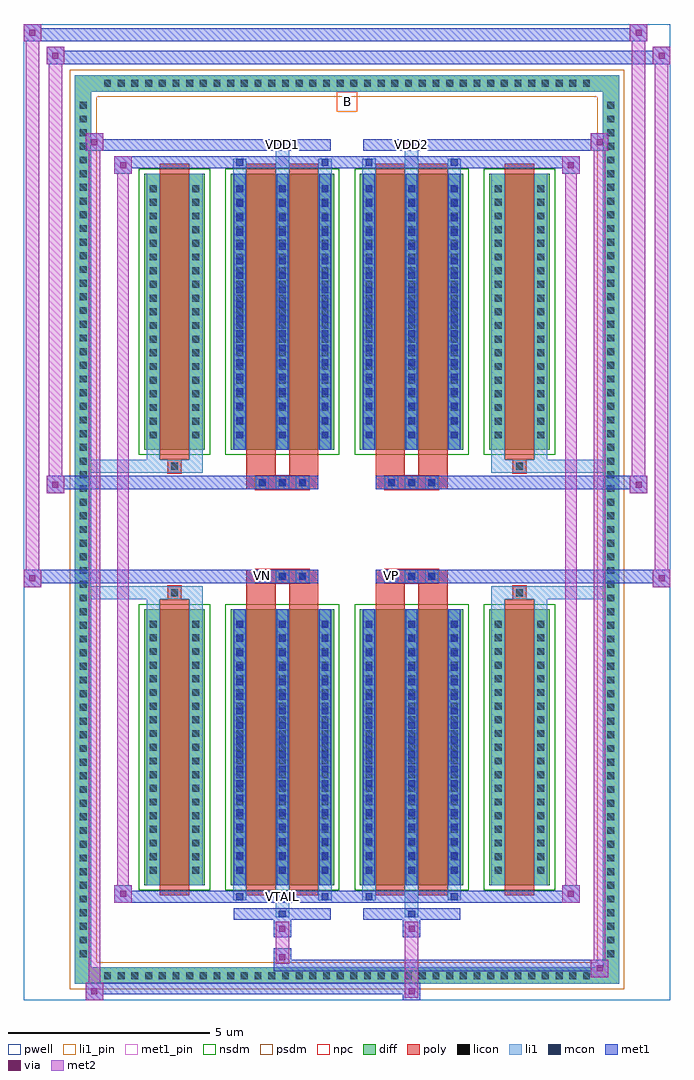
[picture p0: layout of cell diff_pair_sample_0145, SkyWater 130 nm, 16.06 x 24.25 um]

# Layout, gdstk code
import gdstk
lib = gdstk.Library(unit=1e-6, precision=5e-09)
def R(c, l, rs):  # rectangles x0, y0, x1, y1
    for r in rs: c.add(gdstk.rectangle(r[:2], r[2:], *l))
def A(c, l, x, y, w, h, nx, ny, dx, dy):  # array of equal rectangles
    R(c, l, [(x+i*dx, y+j*dy, x+i*dx+w, y+j*dy+h) for i in range(nx) for j in range(ny)])
def P(c, l, *ps):  # polygons
    for p in ps: c.add(gdstk.Polygon(p, *l))
pwell = (64, 44)
diff = (65, 20)
poly = (66, 20)
licon = (66, 44)
li1_pin = (67, 16)
li1 = (67, 20)
mcon = (67, 44)
met1_pin = (68, 16)
met1 = (68, 20)
via = (68, 44)
met2 = (69, 20)
nsdm = (93, 44)
psdm = (94, 20)
npc = (95, 20)

diff_pair_sample_0145 = lib.new_cell('diff_pair_sample_0145')
R(diff_pair_sample_0145, pwell, [(-8.03,-11.69,8.03,12.56), (-5.35,-9.88,-0.01,-0.8), (0.01,-9.88,5.35,-0.8), (-5.35,0.8,-0.01,9.88), (0.01,0.8,5.35,9.88)])
A(diff_pair_sample_0145, diff, -6.155, -11.29, 0.41, 0.41, 36, 2, 0.34, 22.17)
A(diff_pair_sample_0145, diff, -6.76, -10.745, 0.41, 0.41, 1, 63, 0, 0.34)
A(diff_pair_sample_0145, diff, 6.35, -10.745, 0.41, 0.41, 1, 63, 0, 0.34)
R(diff_pair_sample_0145, diff, [(-6.155,-11.29,6.155,-10.88), (-6.76,-10.745,-6.35,10.745), (6.35,-10.745,6.76,10.745), (-5.04,-8.835,-3.53,-1.985), (-2.89,-8.835,-0.32,-1.985), (0.32,-8.835,2.89,-1.985), (3.53,-8.835,5.04,-1.985), (-5.04,1.985,-3.53,8.835), (-2.89,1.985,-0.32,8.835), (0.32,1.985,2.89,8.835), (3.53,1.985,5.04,8.835), (-6.155,10.88,6.155,11.29)])
P(diff_pair_sample_0145, diff, [(6.76,11.29),(-6.76,11.29),(-6.76,-10.88),(-6.35,-10.88),(-6.35,10.88),(6.35,10.88),(6.35,-10.88),(-6.35,-10.88),(-6.76,-10.88),(-6.76,-11.29),(6.76,-11.29)])
A(diff_pair_sample_0145, poly, -2.27, -1.33, 0.33, 0.33, 3, 2, 0.5, 2.33)
A(diff_pair_sample_0145, poly, 0.94, -1.33, 0.33, 0.33, 3, 2, 0.5, 2.33)
R(diff_pair_sample_0145, poly, [(-4.65,-9.085,-3.92,-1.735), (-2.5,-9.085,-1.77,-1.735), (-1.44,-9.085,-0.71,-1.735), (0.71,-9.085,1.44,-1.735), (1.77,-9.085,2.5,-1.735), (3.92,-9.085,4.65,-1.735), (-4.45,-1.735,-4.12,-1.405), (-4.45,-1.735,-4.12,-1.405), (-2.5,-1.735,-1.77,-1.33), (-1.44,-1.735,-0.71,-1.33), (0.71,-1.735,1.44,-1.33), (1.77,-1.735,2.5,-1.33), (4.12,-1.735,4.45,-1.405), (4.12,-1.735,4.45,-1.405), (-2.5,-1.33,-0.71,-1), (0.71,-1.33,2.5,-1), (-2.5,1,-0.71,1.33), (0.71,1,2.5,1.33), (-2.5,1.33,-1.77,1.735), (-1.44,1.33,-0.71,1.735), (0.71,1.33,1.44,1.735), (1.77,1.33,2.5,1.735), (-4.45,1.405,-4.12,1.735), (-4.45,1.405,-4.12,1.735), (4.12,1.405,4.45,1.735), (4.12,1.405,4.45,1.735), (-4.65,1.735,-3.92,9.085), (-2.5,1.735,-1.77,9.085), (-1.44,1.735,-0.71,9.085), (0.71,1.735,1.44,9.085), (1.77,1.735,2.5,9.085), (3.92,1.735,4.65,9.085)])
A(diff_pair_sample_0145, licon, -6.035, -11.17, 0.17, 0.17, 36, 2, 0.34, 22.17)
A(diff_pair_sample_0145, licon, -6.64, -10.625, 0.17, 0.17, 1, 63, 0, 0.34)
A(diff_pair_sample_0145, licon, 6.47, -10.625, 0.17, 0.17, 1, 63, 0, 0.34)
A(diff_pair_sample_0145, licon, -4.9, -8.555, 0.17, 0.17, 1, 19, 0, 0.34)
A(diff_pair_sample_0145, licon, -3.84, -8.555, 0.17, 0.17, 1, 19, 0, 0.34)
A(diff_pair_sample_0145, licon, -2.75, -8.555, 0.17, 0.17, 3, 19, 1.06, 0.34)
A(diff_pair_sample_0145, licon, 0.46, -8.555, 0.17, 0.17, 3, 19, 1.06, 0.34)
A(diff_pair_sample_0145, licon, 3.67, -8.555, 0.17, 0.17, 1, 19, 0, 0.34)
A(diff_pair_sample_0145, licon, 4.73, -8.555, 0.17, 0.17, 1, 19, 0, 0.34)
A(diff_pair_sample_0145, licon, -2.19, -1.25, 0.17, 0.17, 3, 2, 0.5, 2.33)
A(diff_pair_sample_0145, licon, 1.02, -1.25, 0.17, 0.17, 3, 2, 0.5, 2.33)
A(diff_pair_sample_0145, licon, -4.9, 2.265, 0.17, 0.17, 1, 19, 0, 0.34)
A(diff_pair_sample_0145, licon, -3.84, 2.265, 0.17, 0.17, 1, 19, 0, 0.34)
A(diff_pair_sample_0145, licon, -2.75, 2.265, 0.17, 0.17, 3, 19, 1.06, 0.34)
A(diff_pair_sample_0145, licon, 0.46, 2.265, 0.17, 0.17, 3, 19, 1.06, 0.34)
A(diff_pair_sample_0145, licon, 3.67, 2.265, 0.17, 0.17, 1, 19, 0, 0.34)
A(diff_pair_sample_0145, licon, 4.73, 2.265, 0.17, 0.17, 1, 19, 0, 0.34)
R(diff_pair_sample_0145, licon, [(-4.37,-1.655,-4.2,-1.485), (4.2,-1.655,4.37,-1.485), (-4.37,1.485,-4.2,1.655), (4.2,1.485,4.37,1.655)])
R(diff_pair_sample_0145, li1_pin, [(-0.25,10.38,0.25,10.88)])
A(diff_pair_sample_0145, li1, -6.115, -11.25, 0.33, 0.33, 36, 2, 0.34, 22.17)
A(diff_pair_sample_0145, li1, -6.72, -10.705, 0.33, 0.33, 1, 63, 0, 0.34)
A(diff_pair_sample_0145, li1, 6.39, -10.705, 0.33, 0.33, 1, 63, 0, 0.34)
A(diff_pair_sample_0145, li1, -2.83, -8.835, 0.33, 6.85, 3, 2, 1.06, 10.82)
A(diff_pair_sample_0145, li1, 0.38, -8.835, 0.33, 6.85, 3, 2, 1.06, 10.82)
A(diff_pair_sample_0145, li1, -4.98, -8.635, 0.33, 0.33, 1, 19, 0, 0.34)
A(diff_pair_sample_0145, li1, -3.92, -8.635, 0.33, 0.33, 1, 19, 0, 0.34)
A(diff_pair_sample_0145, li1, -2.83, -8.635, 0.33, 0.33, 3, 19, 1.06, 0.34)
A(diff_pair_sample_0145, li1, 0.38, -8.635, 0.33, 0.33, 3, 19, 1.06, 0.34)
A(diff_pair_sample_0145, li1, 3.59, -8.635, 0.33, 0.33, 1, 19, 0, 0.34)
A(diff_pair_sample_0145, li1, 4.65, -8.635, 0.33, 0.33, 1, 19, 0, 0.34)
A(diff_pair_sample_0145, li1, -2.75, -8.555, 0.17, 0.17, 3, 18, 1.06, 0.36)
A(diff_pair_sample_0145, li1, -2.75, -8.555, 0.17, 6.29, 3, 2, 1.06, 10.82)
A(diff_pair_sample_0145, li1, 0.46, -8.555, 0.17, 0.17, 3, 18, 1.06, 0.36)
A(diff_pair_sample_0145, li1, 0.46, -8.555, 0.17, 6.29, 3, 2, 1.06, 10.82)
A(diff_pair_sample_0145, li1, -2.27, -1.33, 0.33, 0.33, 3, 2, 0.5, 2.33)
A(diff_pair_sample_0145, li1, 0.94, -1.33, 0.33, 0.33, 3, 2, 0.5, 2.33)
A(diff_pair_sample_0145, li1, -4.98, 2.185, 0.33, 0.33, 1, 19, 0, 0.34)
A(diff_pair_sample_0145, li1, -3.92, 2.185, 0.33, 0.33, 1, 19, 0, 0.34)
A(diff_pair_sample_0145, li1, -2.83, 2.185, 0.33, 0.33, 3, 19, 1.06, 0.34)
A(diff_pair_sample_0145, li1, 0.38, 2.185, 0.33, 0.33, 3, 19, 1.06, 0.34)
A(diff_pair_sample_0145, li1, 3.59, 2.185, 0.33, 0.33, 1, 19, 0, 0.34)
A(diff_pair_sample_0145, li1, 4.65, 2.185, 0.33, 0.33, 1, 19, 0, 0.34)
A(diff_pair_sample_0145, li1, -2.75, 2.265, 0.17, 0.17, 3, 18, 1.06, 0.36)
A(diff_pair_sample_0145, li1, 0.46, 2.265, 0.17, 0.17, 3, 18, 1.06, 0.36)
R(diff_pair_sample_0145, li1, [(-6.76,-11.29,-6.35,-10.88), (-6.76,-11.29,-6.35,-10.88), (-6.35,-11.29,6.35,-10.88), (6.35,-11.29,6.76,-10.88), (6.35,-11.29,6.76,-10.88), (-6.76,-10.88,-6.35,10.88), (6.35,-10.88,6.76,10.88), (-1.77,-9.64,-1.44,-8.835), (-1.69,-9.64,-1.52,-9.47), (1.44,-9.64,1.77,-8.835), (1.52,-9.64,1.69,-9.47), (-2.83,-9.21,-2.5,-8.835), (-2.75,-9.21,-2.58,-9.04), (-0.71,-9.21,-0.38,-8.835), (-0.63,-9.21,-0.46,-9.04), (0.38,-9.21,0.71,-8.835), (0.46,-9.21,0.63,-9.04), (2.5,-9.21,2.83,-8.835), (2.58,-9.21,2.75,-9.04), (-4.98,-8.835,-4.65,-1.985), (-3.92,-8.835,-3.59,-1.985), (3.59,-8.835,3.92,-1.985), (4.65,-8.835,4.98,-1.985), (-4.98,-1.985,-4.65,-1.405), (-3.92,-1.985,-3.59,-1.405), (3.59,-1.985,3.92,-1.405), (4.65,-1.985,4.98,-1.405), (-6.76,-1.735,-4.45,-1.405), (-4.98,-1.735,-4.45,-1.405), (-4.45,-1.735,-4.12,-1.405), (-4.12,-1.735,-3.59,-1.405), (3.59,-1.735,4.12,-1.405), (4.12,-1.735,4.45,-1.405), (4.12,-1.735,6.76,-1.405), (4.45,-1.735,4.98,-1.405), (-6.76,1.405,-4.45,1.735), (-4.98,1.405,-4.45,1.735), (-4.98,1.405,-4.65,1.985), (-4.45,1.405,-4.12,1.735), (-4.12,1.405,-3.59,1.735), (-3.92,1.405,-3.59,1.985), (3.59,1.405,4.12,1.735), (3.59,1.405,3.92,1.985), (4.12,1.405,4.45,1.735), (4.12,1.405,6.76,1.735), (4.45,1.405,4.98,1.735), (4.65,1.405,4.98,1.985), (-4.98,1.985,-4.65,8.835), (-3.92,1.985,-3.59,8.835), (3.59,1.985,3.92,8.835), (4.65,1.985,4.98,8.835), (-2.83,8.835,-2.5,9.21), (-1.77,8.835,-1.44,9.64), (-0.71,8.835,-0.38,9.21), (0.38,8.835,0.71,9.21), (1.44,8.835,1.77,9.64), (2.5,8.835,2.83,9.21), (-2.75,9.04,-2.58,9.21), (-0.63,9.04,-0.46,9.21), (0.46,9.04,0.63,9.21), (2.58,9.04,2.75,9.21), (-1.69,9.47,-1.52,9.64), (1.52,9.47,1.69,9.64), (-6.76,10.88,-6.35,11.29), (-6.76,10.88,-6.35,11.29), (-6.35,10.88,6.35,11.29), (6.35,10.88,6.76,11.29), (6.35,10.88,6.76,11.29)])
A(diff_pair_sample_0145, mcon, -2.75, -8.555, 0.17, 0.17, 3, 18, 1.06, 0.36)
A(diff_pair_sample_0145, mcon, 0.46, -8.555, 0.17, 0.17, 3, 18, 1.06, 0.36)
A(diff_pair_sample_0145, mcon, -2.19, -1.25, 0.17, 0.17, 3, 2, 0.5, 2.33)
A(diff_pair_sample_0145, mcon, 1.02, -1.25, 0.17, 0.17, 3, 2, 0.5, 2.33)
A(diff_pair_sample_0145, mcon, -2.75, 2.265, 0.17, 0.17, 3, 18, 1.06, 0.36)
A(diff_pair_sample_0145, mcon, 0.46, 2.265, 0.17, 0.17, 3, 18, 1.06, 0.36)
R(diff_pair_sample_0145, mcon, [(-1.69,-9.64,-1.52,-9.47), (1.52,-9.64,1.69,-9.47), (-2.75,-9.21,-2.58,-9.04), (-0.63,-9.21,-0.46,-9.04), (0.46,-9.21,0.63,-9.04), (2.58,-9.21,2.75,-9.04), (-2.75,9.04,-2.58,9.21), (-0.63,9.04,-0.46,9.21), (0.46,9.04,0.63,9.21), (2.58,9.04,2.75,9.21), (-1.69,9.47,-1.52,9.64), (1.52,9.47,1.69,9.64)])
R(diff_pair_sample_0145, met1_pin, [(-1.74,-9.25,-1.47,-8.98), (-2.24,-1.29,-1.97,-1.02), (0.97,-1.29,1.24,-1.02), (-1.74,9.43,-1.47,9.7), (1.47,9.43,1.74,9.7)])
A(diff_pair_sample_0145, met1, -2.81, -8.835, 0.29, 6.85, 3, 2, 1.06, 10.82)
A(diff_pair_sample_0145, met1, 0.4, -8.835, 0.29, 6.85, 3, 2, 1.06, 10.82)
A(diff_pair_sample_0145, met1, -2.81, -8.615, 0.29, 0.29, 3, 18, 1.06, 0.36)
A(diff_pair_sample_0145, met1, 0.4, -8.615, 0.29, 0.29, 3, 18, 1.06, 0.36)
A(diff_pair_sample_0145, met1, -2.25, -1.31, 0.29, 0.29, 3, 2, 0.5, 2.33)
A(diff_pair_sample_0145, met1, 0.96, -1.31, 0.29, 0.29, 3, 2, 0.5, 2.33)
A(diff_pair_sample_0145, met1, -2.81, 2.205, 0.29, 0.29, 3, 18, 1.06, 0.36)
A(diff_pair_sample_0145, met1, 0.4, 2.205, 0.29, 0.29, 3, 18, 1.06, 0.36)
R(diff_pair_sample_0145, met1, [(-6.49,-11.69,-6.06,-11.26), (1.39,-11.69,1.82,-11.26), (-6.49,-11.55,1.82,-11.26), (6.06,-11.12,6.49,-10.69), (-1.82,-10.98,6.49,-10.69), (-1.82,-10.84,-1.39,-10.41), (-1.82,-10.13,-1.39,-9.7), (1.39,-10.13,1.82,-9.7), (-2.81,-9.7,-0.4,-9.41), (-1.75,-9.7,-1.46,-9.41), (0.4,-9.7,2.81,-9.41), (1.46,-9.7,1.75,-9.41), (-5.78,-9.27,-5.35,-8.84), (-5.78,-9.27,-2.81,-8.98), (-2.81,-9.27,-2.52,-8.98), (-2.81,-9.27,-0.4,-8.98), (-0.69,-9.27,-0.4,-8.98), (-0.4,-9.27,0.4,-8.98), (0.4,-9.27,0.69,-8.98), (0.4,-9.27,2.81,-8.98), (2.52,-9.27,2.81,-8.98), (2.81,-9.27,5.78,-8.98), (5.35,-9.27,5.78,-8.84), (-8.03,-1.43,-7.6,-1), (7.6,-1.43,8.03,-1), (-8.03,-1.33,-0.71,-1), (-2.5,-1.33,-0.71,-1), (0.71,-1.33,2.5,-1), (0.71,-1.33,8.03,-1), (-7.46,0.9,-7.03,1.33), (7.03,0.9,7.46,1.33), (-7.46,1,-2.5,1.33), (-2.5,1,-0.71,1.33), (0.71,1,2.5,1.33), (2.5,1,7.46,1.33), (-5.78,8.84,-5.35,9.27), (5.35,8.84,5.78,9.27), (-5.78,8.98,-2.81,9.27), (-2.81,8.98,-2.52,9.27), (-2.81,8.98,-0.4,9.27), (-0.69,8.98,-0.4,9.27), (-0.4,8.98,0.4,9.27), (0.4,8.98,0.69,9.27), (0.4,8.98,2.81,9.27), (2.52,8.98,2.81,9.27), (2.81,8.98,5.78,9.27), (-6.49,9.41,-6.06,9.84), (-6.49,9.41,-2.81,9.7), (-2.81,9.41,-0.4,9.7), (-1.75,9.41,-1.46,9.7), (0.4,9.41,2.81,9.7), (1.46,9.41,1.75,9.7), (2.81,9.41,6.49,9.7), (6.06,9.41,6.49,9.84), (-7.46,11.56,-7.03,11.99), (-7.46,11.56,-5.35,11.89), (-5.35,11.56,5.35,11.89), (5.35,11.56,8.03,11.89), (7.6,11.56,8.03,11.99), (-8.03,12.13,-7.6,12.56), (-8.03,12.13,-5.35,12.46), (-5.35,12.13,5.35,12.46), (5.35,12.13,7.46,12.46), (7.03,12.13,7.46,12.56)])
R(diff_pair_sample_0145, via, [(-6.35,-11.55,-6.2,-11.4), (1.53,-11.55,1.68,-11.4), (6.2,-10.98,6.35,-10.83), (-1.68,-10.7,-1.53,-10.55), (-1.68,-9.99,-1.53,-9.84), (1.53,-9.99,1.68,-9.84), (-5.64,-9.13,-5.49,-8.98), (5.49,-9.13,5.64,-8.98), (-7.89,-1.29,-7.74,-1.14), (7.74,-1.29,7.89,-1.14), (-7.32,1.04,-7.17,1.19), (7.17,1.04,7.32,1.19), (-5.64,8.98,-5.49,9.13), (5.49,8.98,5.64,9.13), (-6.35,9.55,-6.2,9.7), (6.2,9.55,6.35,9.7), (-7.32,11.7,-7.17,11.85), (7.74,11.7,7.89,11.85), (-7.89,12.27,-7.74,12.42), (7.17,12.27,7.32,12.42)])
R(diff_pair_sample_0145, met2, [(-6.49,-11.69,-6.06,-11.26), (-6.42,-11.69,-6.13,9.84), (-6.13,-11.69,-6.06,-11.26), (-6.44,-11.64,-6.11,-11.31), (1.44,-11.64,1.77,-11.31), (1.44,-11.31,1.77,-10.08), (6.06,-11.12,6.49,-10.69), (6.13,-11.12,6.42,9.84), (6.42,-11.12,6.49,-10.69), (6.11,-11.07,6.44,-10.74), (-1.77,-10.79,-1.44,-10.46), (-1.77,-10.46,-1.44,-10.08), (-1.77,-10.08,-1.44,-9.75), (1.44,-10.08,1.77,-9.75), (-5.78,-9.27,-5.35,-8.84), (-5.71,-9.27,-5.42,9.27), (-5.42,-9.27,-5.35,-8.84), (5.35,-9.27,5.78,-8.84), (5.42,-9.27,5.71,9.27), (5.71,-9.27,5.78,-8.84), (-5.73,-9.22,-5.4,-8.89), (5.4,-9.22,5.73,-8.89), (-8.03,-1.43,-7.6,-1), (-7.98,-1.43,-7.65,12.56), (-7.65,-1.43,-7.6,-1), (7.6,-1.43,8.03,-1), (7.65,-1.43,7.98,11.99), (7.98,-1.43,8.03,-1), (-7.98,-1.38,-7.65,-1.05), (7.65,-1.38,7.98,-1.05), (-7.46,0.9,-7.03,1.33), (-7.41,0.9,-7.08,11.99), (-7.08,0.9,-7.03,1.33), (7.03,0.9,7.46,1.33), (7.08,0.9,7.41,12.56), (7.41,0.9,7.46,1.33), (-7.41,0.95,-7.08,1.28), (7.08,0.95,7.41,1.28), (-5.78,8.84,-5.35,9.27), (-5.42,8.84,-5.35,9.27), (5.35,8.84,5.78,9.27), (5.71,8.84,5.78,9.27), (-5.73,8.89,-5.4,9.22), (5.4,8.89,5.73,9.22), (-6.49,9.41,-6.06,9.84), (-6.13,9.41,-6.06,9.84), (6.06,9.41,6.49,9.84), (6.42,9.41,6.49,9.84), (-6.44,9.46,-6.11,9.79), (6.11,9.46,6.44,9.79), (-7.46,11.56,-7.03,11.99), (-7.08,11.56,-7.03,11.99), (7.6,11.56,8.03,11.99), (7.98,11.56,8.03,11.99), (-7.41,11.61,-7.08,11.94), (7.65,11.61,7.98,11.94), (-8.03,12.13,-7.6,12.56), (-7.65,12.13,-7.6,12.56), (7.03,12.13,7.46,12.56), (7.41,12.13,7.46,12.56), (-7.98,12.18,-7.65,12.51), (7.08,12.18,7.41,12.51)])
R(diff_pair_sample_0145, nsdm, [(-5.17,-8.965,-3.4,-1.855), (-3.02,-8.965,-0.19,-1.855), (0.19,-8.965,3.02,-1.855), (3.4,-8.965,5.17,-1.855), (-5.17,1.855,-3.4,8.965), (-3.02,1.855,-0.19,8.965), (0.19,1.855,3.02,8.965), (3.4,1.855,5.17,8.965)])
P(diff_pair_sample_0145, psdm, [(6.89,11.42),(-6.89,11.42),(-6.89,-10.75),(-6.22,-10.75),(-6.22,10.75),(6.22,10.75),(6.22,-10.75),(-6.22,-10.75),(-6.89,-10.75),(-6.89,-11.42),(6.89,-11.42)])
A(diff_pair_sample_0145, npc, -2.29, -1.35, 0.37, 0.37, 3, 2, 0.5, 2.33)
A(diff_pair_sample_0145, npc, 0.92, -1.35, 0.37, 0.37, 3, 2, 0.5, 2.33)
R(diff_pair_sample_0145, npc, [(-4.47,-1.755,-4.1,-1.385), (4.1,-1.755,4.47,-1.385), (-2.29,-1.35,-1.42,-0.98), (-2.29,-1.35,-1.42,-0.98), (-1.79,-1.35,-0.92,-0.98), (-1.79,-1.35,-0.92,-0.98), (0.92,-1.35,1.79,-0.98), (0.92,-1.35,1.79,-0.98), (1.42,-1.35,2.29,-0.98), (1.42,-1.35,2.29,-0.98), (-2.29,0.98,-1.42,1.35), (-2.29,0.98,-1.42,1.35), (-1.79,0.98,-0.92,1.35), (-1.79,0.98,-0.92,1.35), (0.92,0.98,1.79,1.35), (0.92,0.98,1.79,1.35), (1.42,0.98,2.29,1.35), (1.42,0.98,2.29,1.35), (-4.47,1.385,-4.1,1.755), (4.1,1.385,4.47,1.755)])
diff_pair_sample_0145.add(gdstk.Label('VTAIL', (-1.605,-9.115), layer=68, texttype=5))
diff_pair_sample_0145.add(gdstk.Label('VN', (-2.105,-1.155), layer=68, texttype=5))
diff_pair_sample_0145.add(gdstk.Label('VP', (1.105,-1.155), layer=68, texttype=5))
diff_pair_sample_0145.add(gdstk.Label('B', (0,10.63), layer=67, texttype=5))
diff_pair_sample_0145.add(gdstk.Label('VDD2', (1.605,9.565), layer=68, texttype=5))
diff_pair_sample_0145.add(gdstk.Label('VDD1', (-1.605,9.565), layer=68, texttype=5))

lib.write_gds('diff_pair_sample_0145.gds')
